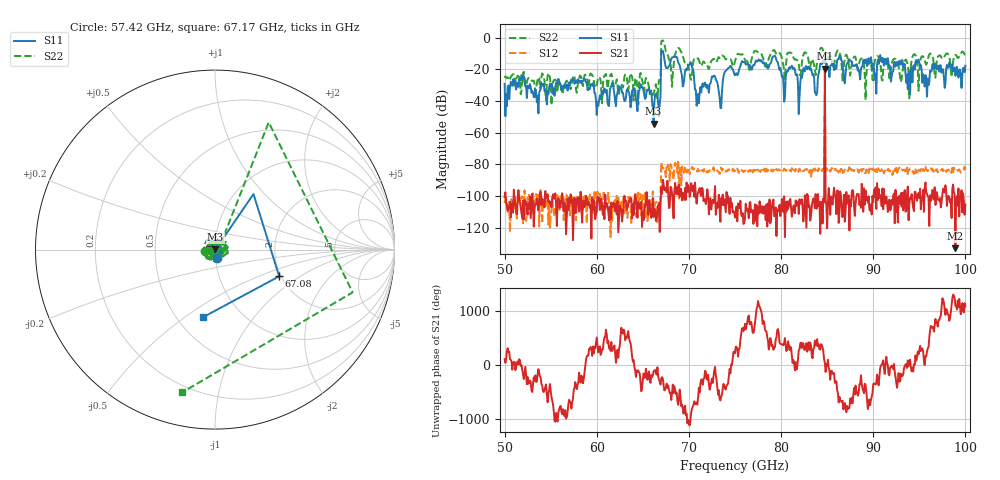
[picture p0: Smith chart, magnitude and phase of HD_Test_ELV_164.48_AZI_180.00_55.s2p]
! 11/25/2026 9:30:12 AM
! C:\ANRITSUVNA\TEMP\TEMP.S2P
! CHANNEL.1
! TR.MEASUREMENT
! RAW.DATA
# HZ S RI R 50.0
! FREQ.HZ  S11RE  S11IM  S21RE  S21IM  S12RE  S12IM  S22RE  S22IM
!; PortSelection: Port_12
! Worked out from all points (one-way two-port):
!   601 points, 50 GHz to 100 GHz, reference 50 ohm
!   highest |S21| = -19.65 dB at 84.75 GHz (marker M1); lowest = -133.0 dB at 98.92 GHz (marker M2)
!   lowest |S11| = -54.3 dB at 66.17 GHz (marker M3), VSWR 1.00, Z = 50.1 + j0.147 ohm
!   |S11| at or under -10 dB: start of sweep to 67 GHz; 67.24 GHz to end of sweep
!   |S22| runs from -42.6 to -1.8 dB; largest |S21 - S12| = 0.12
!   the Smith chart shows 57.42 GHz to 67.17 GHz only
!   S11 on the Smith chart (normalised r, x): 57.42 GHz: 1.02, -0.10; 67.08 GHz: 1.95, -0.68; 67.17 GHz: 0.67, -0.59
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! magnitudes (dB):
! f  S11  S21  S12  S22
! 50 GHz  -29.2  -100.7  -104.4  -25.4
! 57.42 GHz  -26.3  -128.0  -106.0  -25.3
! 58.42 GHz  -27.2  -116.9  -104.4  -29.0
! 60.17 GHz  -43.1  -101.9  -102.0  -24.9
! 61.67 GHz  -28.7  -107.2  -115.8  -24.5
! 66.17 GHz  -54.3  -113.4  -106.0  -35.4
! 66.67 GHz  -42.0  -105.9  -112.6  -32.2
! 67.08 GHz  -8.2  -98.7  -81.6  -1.9
! 67.17 GHz  -8.4  -89.8  -82.7  -1.8
! 70.17 GHz  -15.4  -97.3  -84.3  -25.7
! 70.92 GHz  -40.8  -99.8  -84.7  -13.3
! 75 GHz  -23.7  -113.7  -84.2  -15.0
! 79.25 GHz  -11.8  -112.9  -83.1  -7.9
! 80.25 GHz  -27.6  -110.1  -84.0  -17.6
! 83.42 GHz  -23.8  -103.2  -84.7  -13.6
! 84.75 GHz  -12.8  -19.6  -35.2  -11.6
! 91.67 GHz  -16.6  -105.5  -83.1  -20.4
! 93.75 GHz  -32.7  -94.1  -86.2  -17.2
! 94.83 GHz  -15.0  -99.8  -86.0  -20.3
! 95.83 GHz  -37.3  -98.7  -83.9  -15.9
! 98.92 GHz  -24.1  -133.0  -84.3  -10.9
! 100 GHz  -17.8  -105.5  -83.5  -12.1
